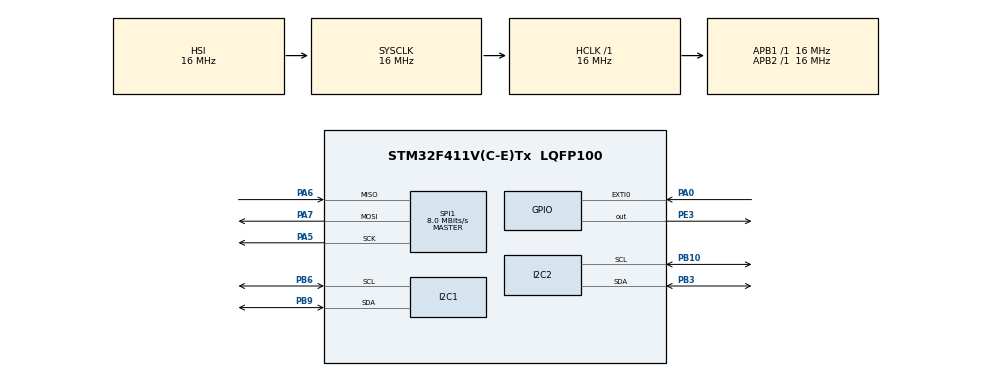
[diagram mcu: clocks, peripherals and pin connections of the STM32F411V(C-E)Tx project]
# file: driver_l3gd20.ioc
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I2C1.I2C_Mode=I2C_Fast
I2C2.I2C_Mode=I2C_Fast
Mcu.Family=STM32F4
Mcu.Name=STM32F411V(C-E)Tx
Mcu.Package=LQFP100
NVIC.EXTI0_IRQn=true\:0\:0\:false\:false\:true\:true\:true\:true
NVIC.PriorityGroup=NVIC_PRIORITYGROUP_4
NVIC.TIM2_IRQn=true\:2\:0\:true\:false\:true\:true\:true\:true
NVIC.TIM3_IRQn=true\:1\:0\:true\:false\:true\:true\:true\:true
PA0-WKUP.Signal=GPXTI0
PA13.Mode=Serial_Wire
PA13.Signal=SYS_JTMS-SWDIO
PA14.Mode=Serial_Wire
PA14.Signal=SYS_JTCK-SWCLK
PA5.Mode=Full_Duplex_Master
PA5.Signal=SPI1_SCK
PA6.Mode=Full_Duplex_Master
PA6.Signal=SPI1_MISO
PA7.Mode=Full_Duplex_Master
PA7.Signal=SPI1_MOSI
PB10.Mode=I2C
PB10.Signal=I2C2_SCL
PB3.Mode=I2C
PB3.Signal=I2C2_SDA
PB6.Mode=I2C
PB6.Signal=I2C1_SCL
PB9.Mode=I2C
PB9.Signal=I2C1_SDA
PE3.Signal=GPIO_Output
PH0\ -\ OSC_IN.Mode=HSE-External-Oscillator
PH0\ -\ OSC_IN.Signal=RCC_OSC_IN
PH1\ -\ OSC_OUT.Mode=HSE-External-Oscillator
PH1\ -\ OSC_OUT.Signal=RCC_OSC_OUT
ProjectManager.HeapSize=0x200
ProjectManager.StackSize=0x400
ProjectManager.TargetToolchain=STM32CubeIDE
RCC.AHBFreq_Value=16000000
RCC.APB1Freq_Value=16000000
RCC.APB2Freq_Value=16000000
RCC.CortexFreq_Value=16000000
RCC.HSE_VALUE=25000000
RCC.HSI_VALUE=16000000
RCC.LSE_VALUE=32768
RCC.SYSCLKFreq_VALUE=16000000
RCC.VCOOutputFreq_Value=192000000
SPI1.CalculateBaudRate=8.0 MBits/s
SPI1.Direction=SPI_DIRECTION_2LINES
SPI1.Mode=SPI_MODE_MASTER
SPI1.VirtualType=VM_MASTER
TIM2.Period=100
TIM2.Prescaler=16000
TIM3.Period=49
TIM3.Prescaler=15999
VP_TIM2_VS_ClockSourceINT.Mode=Internal
VP_TIM3_VS_ClockSourceINT.Mode=Internal
board=custom

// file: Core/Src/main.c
/* USER CODE BEGIN Header */
/**
 ******************************************************************************
 * @file           : main.c
 * @brief          : Main program body
 ******************************************************************************
 * @attention
 *
 * Copyright (c) 2022 STMicroelectronics.
 * All rights reserved.
 *
 * This software is licensed under terms that can be found in the LICENSE file
 * in the root directory of this software component.
 * If no LICENSE file comes with this software, it is provided AS-IS.
 *
 ******************************************************************************
 */
/* USER CODE END Header */
#include <l3gd20_process.h>
#include "main.h"

/* USER CODE BEGIN Includes */
#include <stdlib.h>
#include "../../Drivers/driver_oled/Inc/fonts.h"
#include "../../Drivers/driver_oled/Inc/ssd1306.h"
#include "../../Drivers/button_driver/Inc/button.h"
#include <sys_button.h>
#include <string.h>
#include <stdio.h>
#include <l3gd20_process.h>
#include "../../Drivers/L3GD20_Driver/Inc/l3gd20.h"
#include "../../Drivers/LSM303_Driver/Inc/lsm303.h"
/* USER CODE END Includes */

/* USER CODE BEGIN PTD */
typedef enum
{
  START,
  POSITIVE_SIGNAL,
  NEGATIVE_SIGNAL,
} thresh_hold_t;
typedef enum
{
  ON,
  READY,
  DISPLAY,
  OFF
} device_state_t;
typedef enum
{
  INIT,
  THRESH_ABOVE,
  THRESH_BELOW,
  COMPLETED_FOOT
} state_foot_t; // initialize footstep machine
/* USER CODE END PTD */

I2C_HandleTypeDef hi2c1;
I2C_HandleTypeDef hi2c2;

SPI_HandleTypeDef hspi1;

TIM_HandleTypeDef htim2;
TIM_HandleTypeDef htim3;

/* USER CODE BEGIN PV */
spi_cs_t cs1;
ang_device_t l3gd2;
state_foot_t state_foot;
float angleratez = 0;
uint8_t flag = 0;
uint8_t count_step = 0;
uint32_t count_time_1 = 0;
uint32_t count_time_2 = 0;
uint8_t state = 0;
uint32_t count_time = 0;    //
uint32_t debounce_time = 0; //       initialize variables
uint32_t press_but = 0;     //
uint8_t clear_flag = 1;
button_t button1; //
char foot_count[] = "  ";
LSM303DLHC_TypeDef lsm303;
device_state_t device_state;
/* USER CODE END PV */

void SystemClock_Config(void);
static void MX_GPIO_Init(void);
static void MX_SPI1_Init(void);
static void MX_TIM2_Init(void);
static void MX_I2C1_Init(void);
static void MX_I2C2_Init(void);
static void MX_TIM3_Init(void);

/* USER CODE BEGIN 0 */
void HAL_TIM_PeriodElapsedCallback(TIM_HandleTypeDef *htim)
{
  if (htim->Instance == htim2.Instance) // timer 2 to determine footsteps distance
  {
    flag++;
  }
  else if (htim->Instance == htim3.Instance)
  {
    count_time++;      // Increase time interrupt of timer with 50ms
    debounce_time = 1; // Turn on debounce time flag
  }
}
/* USER CODE END 0 */

int main(void)
{

  /* MCU Configuration--------------------------------------------------------*/

  /* Reset of all peripherals, Initializes the Flash interface and the Systick. */
  HAL_Init();

  /* Configure the system clock */
  SystemClock_Config();

  /* Initialize all configured peripherals */
  MX_GPIO_Init();
  MX_SPI1_Init();
  MX_TIM2_Init();
  MX_I2C1_Init();
  MX_I2C2_Init();
  MX_TIM3_Init();
  /* USER CODE BEGIN 2 */
  l3gd20_cs_init(&cs1, GPIOE, GPIO_PIN_3);
  l3gd20_init(&cs1);
  lsm303_init(&lsm303, &hi2c1);
  ssd1306_init();
  device_state = OFF;
  state_foot = INIT;
  button_init(&button1, GPIOA, GPIO_PIN_0);
  ssd1306_gotoxy(0, 0);
  ssd1306_puts("HELLO OWNER", &Font_7x10, 1);
  ssd1306_gotoxy(0, 20);
  ssd1306_puts("PRESS BUTTON TO", &Font_7x10, 1);
  ssd1306_gotoxy(0, 40);
  ssd1306_puts("START PROGRAM", &Font_7x10, 1);
  ssd1306_updatescreen(); // display
  HAL_Delay(2000);
  /* USER CODE END 2 */

  /* Infinite loop */
  while (1)
  {

    /* USER CODE BEGIN 3 */
    while (press_but == 1)
    {
      HAL_TIM_Base_Start_IT(&htim3); // turn on timer 3 for counting
      if (debounce_time == 1)        // check debounce times with flag
      {
        //============= Turn on device ==================//
        if (device_state == OFF)
        {
          device_state = ON;
          ssd1306_clear();
        }
        button_get_event(&button1, count_time); // get button event HOLD or CLICK
        if (button1.event == CLICK && device_state == ON)
        {
          HAL_TIM_Base_Stop(&htim3); // turn off timer 3
          button1.event = NOEVENT;
          debounce_time = 0;
          press_but = 0;
          break;
        }
        //============= Check hold button ==================//
        if (button1.event == HOLD)
        {
          press_but = 0;
          debounce_time = 0;
          count_time = 0;
          button1.event = NOEVENT;
          device_state = OFF;
          HAL_TIM_Base_Stop(&htim3);
          break;
        }
      }
    }
    switch (device_state)
    {
    case ON:
    {
      //============= Get device direction==================//
      lsm303dlhc_getaccelerometer(&lsm303);
      lsm303dlhc_getdirection(&lsm303);
      if (lsm303.direct == OTHER)
      {
        ssd1306_clear();
        ssd1306_gotoxy(20, 30);
        ssd1306_puts("WRONG DIRECTION", &Font_7x10, 1);
        ssd1306_updatescreen();
      }
      else
      {
        ssd1306_clear();
        clear_flag = 1;
        device_state = READY;
      }
    }
    case READY:
    {
      if (clear_flag == 1)
      {
        ssd1306_gotoxy(10, 10);
        ssd1306_puts("Device is ready", &Font_7x10, 1);
        ssd1306_gotoxy(20, 30);
        ssd1306_puts("Waiting...", &Font_7x10, 1);
        ssd1306_updatescreen();
        clear_flag = 0;
      }
      //============= Read angular rate ==================//
      l3gd20_main(&l3gd2, &cs1);
      if (l3gd2.anglerate_z != 0) // Check device when reading is ready
      {
        ssd1306_clear();
        device_state = DISPLAY;
        break;
      }
      break;
    }
    case DISPLAY:
    {
      l3gd20_main(&l3gd2, &cs1);
      //============= Check device direction ==================//
      lsm303dlhc_getaccelerometer(&lsm303);
      lsm303dlhc_getdirection(&lsm303);
      if (lsm303.direct == OTHER)
      {
        ssd1306_clear();
        device_state = ON;
        break;
      }
      //============= Detect footstep algorithm ==================//
      switch (state_foot)
      {
      case INIT:
      {

        if (l3gd2.anglerate_z > 200) // if the threshold value above 250
        {
          count_time_1 = HAL_GetTick();  // value time at present
          HAL_TIM_Base_Start_IT(&htim2); // turn on timer2 interrupt
          state_foot = THRESH_ABOVE;     // switch to state A
        }
        break;
      }
      case THRESH_ABOVE:
      {
        if (l3gd2.anglerate_z < -200) // if the threshold value below -250
        {
          state_foot = THRESH_BELOW; // switch to state B
        }
        break;
      }
      case THRESH_BELOW:
      {
        if (l3gd2.anglerate_z > -200) // if the threshold value below -250
        {
          count_time_2 = HAL_GetTick();               // value time at present
          if (abs(count_time_2 - count_time_1) > 500) // if the previous time value minus the later time value is over 500
          {                                           //
            state_foot = COMPLETED_FOOT;              //(noise filtering) switch to state
          }
          else // if there is noise return to state INIT
          {
            count_time_2 = 0;
            count_time_1 = 0;
            flag = 0;
            HAL_TIM_Base_Stop_IT(&htim2);
            HAL_Delay(20);
            state_foot = INIT;
          }
        }
        break;
      }
      case COMPLETED_FOOT:
      {
        if (flag == 1) // if footstep cycle equals 800ms
        {              // counter footstep number
          if (l3gd2.anglerate_z > -200)
          {
            count_step++;
            flag = 0;
            count_time_1 = 0;
            count_time_2 = 0;
            HAL_TIM_Base_Stop_IT(&htim2);
            state_foot = INIT; // switch to state INIT
          }
        }
        else if (flag > 1) //  Eliminating the case that the step cycle is above 800ms
        {
          flag = 0;
          count_time_1 = 0;
          count_time_2 = 0;
          HAL_TIM_Base_Stop_IT(&htim2);
          state_foot = INIT; // SWITCH TO STATE INIT
        }
        break;
      }
      }
      //============= Display OLED ==================//
      HAL_Delay(1);
      foot_count[0] = count_step / 10 + '0';
      foot_count[1] = count_step % 10 + '0';
      ssd1306_gotoxy(0, 0);
      ssd1306_puts("FOOT:", &Font_7x10, 1);
      ssd1306_gotoxy(0, 20);
      ssd1306_puts(foot_count, &Font_7x10, 1);
      ssd1306_updatescreen(); // display
      break;
    }
    //============= Turn off device ==================//
    case OFF:
    {
      ssd1306_clear();
      count_step = 0;
      break;
    }
    }
  }
  /* USER CODE END 3 */
}

void SystemClock_Config(void)
{
  RCC_OscInitTypeDef RCC_OscInitStruct = {0};
  RCC_ClkInitTypeDef RCC_ClkInitStruct = {0};

  /** Configure the main internal regulator output voltage
   */
  __HAL_RCC_PWR_CLK_ENABLE();
  __HAL_PWR_VOLTAGESCALING_CONFIG(PWR_REGULATOR_VOLTAGE_SCALE1);

  /** Initializes the RCC Oscillators according to the specified parameters
   * in the RCC_OscInitTypeDef structure.
   */
  RCC_OscInitStruct.OscillatorType = RCC_OSCILLATORTYPE_HSI;
  RCC_OscInitStruct.HSIState = RCC_HSI_ON;
  RCC_OscInitStruct.HSICalibrationValue = RCC_HSICALIBRATION_DEFAULT;
  RCC_OscInitStruct.PLL.PLLState = RCC_PLL_NONE;
  if (HAL_RCC_OscConfig(&RCC_OscInitStruct) != HAL_OK)
  {
    Error_Handler();
  }

  /** Initializes the CPU, AHB and APB buses clocks
   */
  RCC_ClkInitStruct.ClockType = RCC_CLOCKTYPE_HCLK | RCC_CLOCKTYPE_SYSCLK | RCC_CLOCKTYPE_PCLK1 | RCC_CLOCKTYPE_PCLK2;
  RCC_ClkInitStruct.SYSCLKSource = RCC_SYSCLKSOURCE_HSI;
  RCC_ClkInitStruct.AHBCLKDivider = RCC_SYSCLK_DIV1;
  RCC_ClkInitStruct.APB1CLKDivider = RCC_HCLK_DIV1;
  RCC_ClkInitStruct.APB2CLKDivider = RCC_HCLK_DIV1;

  if (HAL_RCC_ClockConfig(&RCC_ClkInitStruct, FLASH_LATENCY_0) != HAL_OK)
  {
    Error_Handler();
  }
}

static void MX_I2C1_Init(void)
{

  hi2c1.Instance = I2C1;
  hi2c1.Init.ClockSpeed = 400000;
  hi2c1.Init.DutyCycle = I2C_DUTYCYCLE_2;
  hi2c1.Init.OwnAddress1 = 0;
  hi2c1.Init.AddressingMode = I2C_ADDRESSINGMODE_7BIT;
  hi2c1.Init.DualAddressMode = I2C_DUALADDRESS_DISABLE;
  hi2c1.Init.OwnAddress2 = 0;
  hi2c1.Init.GeneralCallMode = I2C_GENERALCALL_DISABLE;
  hi2c1.Init.NoStretchMode = I2C_NOSTRETCH_DISABLE;
  if (HAL_I2C_Init(&hi2c1) != HAL_OK)
  {
    Error_Handler();
  }
}

static void MX_I2C2_Init(void)
{

  hi2c2.Instance = I2C2;
  hi2c2.Init.ClockSpeed = 100000;
  hi2c2.Init.DutyCycle = I2C_DUTYCYCLE_2;
  hi2c2.Init.OwnAddress1 = 0;
  hi2c2.Init.AddressingMode = I2C_ADDRESSINGMODE_7BIT;
  hi2c2.Init.DualAddressMode = I2C_DUALADDRESS_DISABLE;
  hi2c2.Init.OwnAddress2 = 0;
  hi2c2.Init.GeneralCallMode = I2C_GENERALCALL_DISABLE;
  hi2c2.Init.NoStretchMode = I2C_NOSTRETCH_DISABLE;
  if (HAL_I2C_Init(&hi2c2) != HAL_OK)
  {
    Error_Handler();
  }
}

static void MX_SPI1_Init(void)
{

  /* SPI1 parameter configuration*/
  hspi1.Instance = SPI1;
  hspi1.Init.Mode = SPI_MODE_MASTER;
  hspi1.Init.Direction = SPI_DIRECTION_2LINES;
  hspi1.Init.DataSize = SPI_DATASIZE_8BIT;
  hspi1.Init.CLKPolarity = SPI_POLARITY_LOW;
  hspi1.Init.CLKPhase = SPI_PHASE_1EDGE;
  hspi1.Init.NSS = SPI_NSS_SOFT;
  hspi1.Init.BaudRatePrescaler = SPI_BAUDRATEPRESCALER_2;
  hspi1.Init.FirstBit = SPI_FIRSTBIT_MSB;
  hspi1.Init.TIMode = SPI_TIMODE_DISABLE;
  hspi1.Init.CRCCalculation = SPI_CRCCALCULATION_DISABLE;
  hspi1.Init.CRCPolynomial = 10;
  if (HAL_SPI_Init(&hspi1) != HAL_OK)
  {
    Error_Handler();
  }
}

static void MX_TIM2_Init(void)
{

  TIM_ClockConfigTypeDef sClockSourceConfig = {0};
  TIM_MasterConfigTypeDef sMasterConfig = {0};

  htim2.Instance = TIM2;
  htim2.Init.Prescaler = 16000;
  htim2.Init.CounterMode = TIM_COUNTERMODE_UP;
  htim2.Init.Period = 1000;
  htim2.Init.ClockDivision = TIM_CLOCKDIVISION_DIV1;
  htim2.Init.AutoReloadPreload = TIM_AUTORELOAD_PRELOAD_DISABLE;
  if (HAL_TIM_Base_Init(&htim2) != HAL_OK)
  {
    Error_Handler();
  }
  sClockSourceConfig.ClockSource = TIM_CLOCKSOURCE_INTERNAL;
  if (HAL_TIM_ConfigClockSource(&htim2, &sClockSourceConfig) != HAL_OK)
  {
    Error_Handler();
  }
  sMasterConfig.MasterOutputTrigger = TIM_TRGO_RESET;
  sMasterConfig.MasterSlaveMode = TIM_MASTERSLAVEMODE_DISABLE;
  if (HAL_TIMEx_MasterConfigSynchronization(&htim2, &sMasterConfig) != HAL_OK)
  {
    Error_Handler();
  }
}

static void MX_TIM3_Init(void)
{

  TIM_ClockConfigTypeDef sClockSourceConfig = {0};
  TIM_MasterConfigTypeDef sMasterConfig = {0};

  htim3.Instance = TIM3;
  htim3.Init.Prescaler = 15999;
  htim3.Init.CounterMode = TIM_COUNTERMODE_UP;
  htim3.Init.Period = 49;
  htim3.Init.ClockDivision = TIM_CLOCKDIVISION_DIV1;
  htim3.Init.AutoReloadPreload = TIM_AUTORELOAD_PRELOAD_DISABLE;
  if (HAL_TIM_Base_Init(&htim3) != HAL_OK)
  {
    Error_Handler();
  }
  sClockSourceConfig.ClockSource = TIM_CLOCKSOURCE_INTERNAL;
  if (HAL_TIM_ConfigClockSource(&htim3, &sClockSourceConfig) != HAL_OK)
  {
    Error_Handler();
  }
  sMasterConfig.MasterOutputTrigger = TIM_TRGO_RESET;
  sMasterConfig.MasterSlaveMode = TIM_MASTERSLAVEMODE_DISABLE;
  if (HAL_TIMEx_MasterConfigSynchronization(&htim3, &sMasterConfig) != HAL_OK)
  {
    Error_Handler();
  }
}

static void MX_GPIO_Init(void)
{
  GPIO_InitTypeDef GPIO_InitStruct = {0};

  /* GPIO Ports Clock Enable */
  __HAL_RCC_GPIOE_CLK_ENABLE();
  __HAL_RCC_GPIOH_CLK_ENABLE();
  __HAL_RCC_GPIOA_CLK_ENABLE();
  __HAL_RCC_GPIOB_CLK_ENABLE();

  /*Configure GPIO pin Output Level */
  HAL_GPIO_WritePin(GPIOE, GPIO_PIN_3, GPIO_PIN_RESET);

  /*Configure GPIO pin : PE3 */
  GPIO_InitStruct.Pin = GPIO_PIN_3;
  GPIO_InitStruct.Mode = GPIO_MODE_OUTPUT_PP;
  GPIO_InitStruct.Pull = GPIO_NOPULL;
  GPIO_InitStruct.Speed = GPIO_SPEED_FREQ_LOW;
  HAL_GPIO_Init(GPIOE, &GPIO_InitStruct);

  /*Configure GPIO pin : PA0 */
  GPIO_InitStruct.Pin = GPIO_PIN_0;
  GPIO_InitStruct.Mode = GPIO_MODE_IT_RISING;
  GPIO_InitStruct.Pull = GPIO_NOPULL;
  HAL_GPIO_Init(GPIOA, &GPIO_InitStruct);

  /* EXTI interrupt init*/
  HAL_NVIC_SetPriority(EXTI0_IRQn, 0, 0);
  HAL_NVIC_EnableIRQ(EXTI0_IRQn);
}

/* USER CODE BEGIN 4 */
void HAL_GPIO_EXTI_Callback(uint16_t GPIO_Pin) // function interrupt callback
{
  if (GPIO_Pin == button1.GPIO_Pin)
  {
    press_but = 1; // Turn on interrupt button flag
  }
}
/* USER CODE END 4 */

void Error_Handler(void)
{
  __disable_irq();
  while (1)
  {
  }
}
